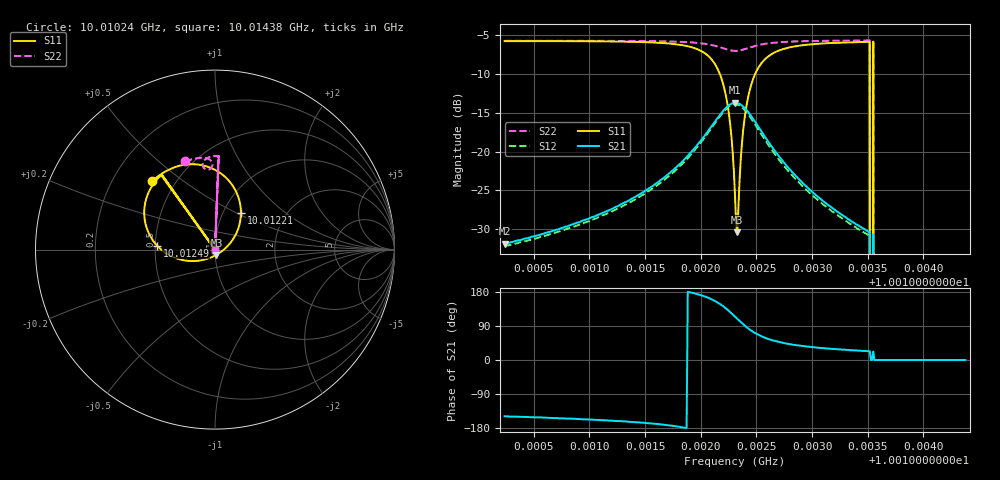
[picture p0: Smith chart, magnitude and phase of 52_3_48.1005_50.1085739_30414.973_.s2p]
#  HZ  S  RI  R  50.00
! Rohde & Schwarz Vector Network Analyzer
! Rohde-Schwarz,ZNB20-2Port,1311601062101988,3.16
! Created: UTC 12/23/2023, 3:39:52 AM
! freq[Hz]  re:S11  im:S11  re:S21  im:S21  re:S12  im:S12  re:S22  im:S22
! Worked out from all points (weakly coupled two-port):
!   401 points, 10.01024 GHz to 10.01438 GHz, reference 50 ohm
!   highest |S21| = -13.69 dB at 10.01231 GHz (marker M1); lowest = -31.9 dB at 10.01024 GHz (marker M2)
!   lowest |S11| = -30.4 dB at 10.01233 GHz (marker M3), VSWR 1.06, Z = 50.7 - j2.96 ohm
!   |S11| at or under -10 dB: 10.01217 GHz to 10.01249 GHz (315.6 kHz wide, 0.00315 % of centre); 10.01352 GHz to 10.01355 GHz (30.59 kHz wide, 0.000305 % of centre); 10.01355 GHz to end of sweep
!   |S22| runs from - to -5.6 dB; largest |S21 - S12| = 0.0097
!   S11 on the Smith chart (normalised r, x): 10.01024 GHz: 0.37, +0.39; 10.01221 GHz: 1.21, +0.53; 10.01249 GHz: 0.51, +0.03; 10.01438 GHz: 1.00, +0.00
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1.0010239e10  -0.3511 0.3797  -0.0217 -0.0133  -0.0202 -0.0139  -0.1665 0.4918
1.0010932e10  -0.2946 0.4241  -0.0326 -0.0144  -0.0306 -0.0154  -0.1208 0.5052
1.0011625e10  -0.1827 0.4704  -0.0629 -0.0119  -0.0602 -0.0145  -0.0675 0.5117
1.0012018e10  0.00701 0.4408  -0.1202 0.0223  -0.1181 0.015  -0.0261 0.4984
1.0012132e10  0.1034 0.3487  -0.143 0.0666  -0.1432 0.057  -0.0151 0.4816
1.0012215e10  0.1445 0.2045  -0.142 0.1231  -0.1445 0.1145  -0.0166 0.4617
1.0012266e10  0.1171 0.0868  -0.1184 0.1637  -0.1226 0.1556  -0.0259 0.4502
1.0012308e10  0.0522 0.00232  -0.0855 0.1884  -0.0898 0.181  -0.0379 0.4457
1.0012328e10  0.00766 -0.0292  -0.0658 0.1951  -0.0705 0.1883  -0.0443 0.4455
1.001238e10  -0.1196 -0.064  -0.0159 0.1951  -0.0201 0.189  -0.059 0.4518
1.0012401e10  -0.1677 -0.0607  0.00215 0.1894  -0.00267 0.1831  -0.0629 0.4562
1.0012494e10  -0.3225 0.0221  0.0517 0.1446  0.0458 0.1399  -0.0689 0.478
1.0012659e10  -0.3937 0.1861  0.0648 0.0797  0.0589 0.0779  -0.0554 0.5022
1.0013001e10  -0.3611 0.3368  0.0455 0.0308  0.042 0.0313  -0.0221 0.5176
1.0013497e10  -0.3023 0.4131  0.0282 0.0122  0.0262 0.0129  0.0174 0.5218
1.0013518e10  -0.3001 0.4152  0.0277 0.0118  0.0258 0.0125  0.0189 0.5218
1.0013528e10  0 0  0 0  0 0  0 0
1.0013549e10  -0.297 0.4178  0.027 0.0112  0.025 0.0122  0.021 0.5219
1.001357e10  0 0  0 0  0 0  0 0
1.001358e10  0 0  0 0  0 0  0 0
1.0013694e10  0 0  0 0  0 0  0 0
1.0014377e10  0 0  0 0  0 0  0 0
